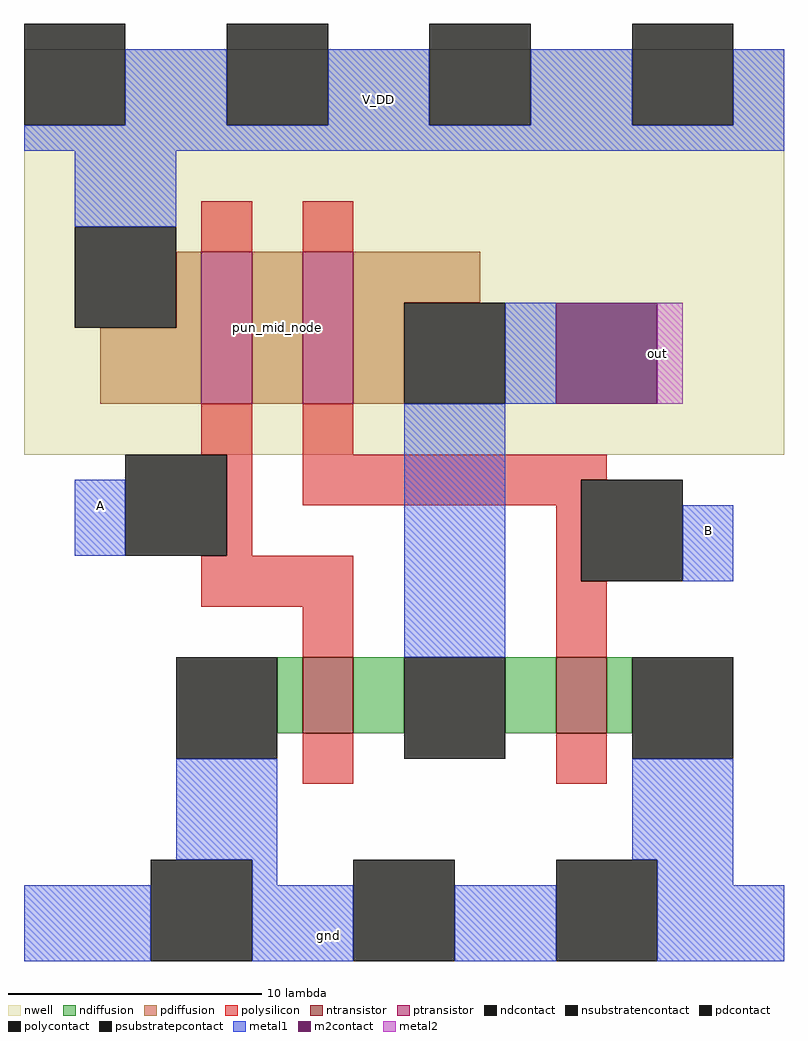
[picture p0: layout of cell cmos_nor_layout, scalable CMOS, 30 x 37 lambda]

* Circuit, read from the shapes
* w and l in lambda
.subckt cmos_nor_layout A B V_DD gnd out pun_mid_node
M1 out A gnd gnd nfet w=3 l=2
M2 gnd B out gnd nfet w=3 l=2
M3 pun_mid_node A V_DD V_DD pfet w=6 l=2
M4 out B pun_mid_node V_DD pfet w=6 l=2
.ends

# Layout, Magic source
magic
tech scmos
<< nwell >>
rect 27 20 57 36
<< polysilicon >>
rect 34 28 36 30
rect 38 28 40 30
rect 34 20 36 22
rect 35 16 36 20
rect 38 20 40 22
rect 38 19 50 20
rect 38 18 49 19
rect 34 14 40 16
rect 38 12 40 14
rect 48 15 49 18
rect 48 12 50 15
rect 38 7 40 9
rect 48 7 50 9
<< ndiffusion >>
rect 37 9 38 12
rect 40 9 42 12
rect 46 9 48 12
rect 50 9 51 12
<< pdiffusion >>
rect 33 25 34 28
rect 30 22 34 25
rect 36 22 38 28
rect 40 26 45 28
rect 40 22 42 26
<< metal1 >>
rect 31 33 35 36
rect 39 33 43 36
rect 47 33 51 36
rect 55 33 57 36
rect 27 32 57 33
rect 29 29 33 32
rect 46 22 48 26
rect 29 16 31 19
rect 42 12 46 22
rect 53 15 55 18
rect 33 4 37 8
rect 51 4 55 8
rect 27 0 32 3
rect 36 3 37 4
rect 36 0 40 3
rect 44 0 48 3
rect 52 3 55 4
rect 52 0 57 3
<< metal2 >>
rect 52 22 53 26
<< ntransistor >>
rect 38 9 40 12
rect 48 9 50 12
<< ptransistor >>
rect 34 22 36 28
rect 38 22 40 28
<< polycontact >>
rect 31 16 35 20
rect 49 15 53 19
<< ndcontact >>
rect 33 8 37 12
rect 42 8 46 12
rect 51 8 55 12
<< pdcontact >>
rect 29 25 33 29
rect 42 22 46 26
<< m2contact >>
rect 48 22 52 26
<< psubstratepcontact >>
rect 32 0 36 4
rect 40 0 44 4
rect 48 0 52 4
<< nsubstratencontact >>
rect 27 33 31 37
rect 35 33 39 37
rect 43 33 47 37
rect 51 33 55 37
<< labels >>
rlabel metal1 41 34 41 34 5 V_DD
rlabel metal1 39 1 39 1 1 gnd
rlabel metal1 54 17 54 17 7 B
rlabel metal1 30 18 30 18 3 A
rlabel m2contact 52 24 52 24 7 out
rlabel pdiffusion 37 25 37 25 1 pun_mid_node
<< end >>
